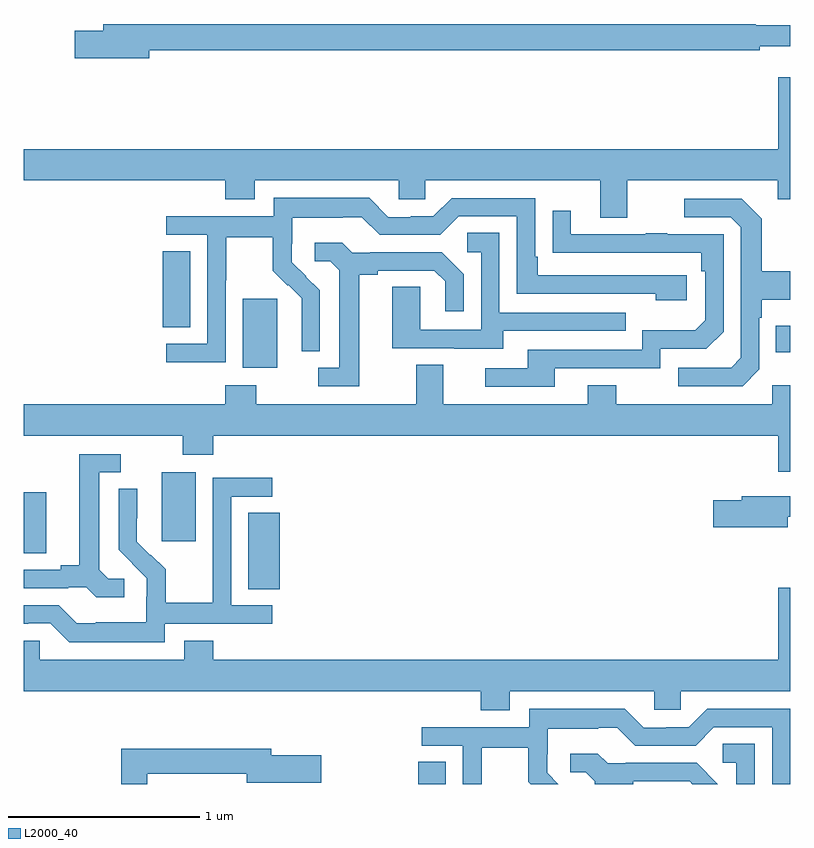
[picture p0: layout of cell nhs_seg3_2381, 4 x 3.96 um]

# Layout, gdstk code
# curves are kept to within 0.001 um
import gdstk
lib = gdstk.Library(unit=1e-6, precision=1e-09)
def R(c, l, rs):  # rectangles x0, y0, x1, y1
    for r in rs: c.add(gdstk.rectangle(r[:2], r[2:], *l))
def P(c, l, *ps):  # polygons
    for p in ps: c.add(gdstk.Polygon(p, *l))
L2000_40 = (2000, 40)

nhs_seg3_2381 = lib.new_cell('nhs_seg3_2381')
R(nhs_seg3_2381, L2000_40, [(235.058,732.4,235.201,732.515), (234.173,733.417,234.337,733.814), (233,733.603,233.119,733.923), (233.72,733.665,233.899,734.026), (234.143,734.57,234.322,734.931), (236.923,734.651,237,734.791), (233.726,734.782,233.869,735.179)])
P(nhs_seg3_2381, L2000_40, [(233.656,736.228),(236.84,736.228),(236.84,736.247),(237,736.247),(237,736.357),(236.818,736.357),(236.818,736.364),(233.417,736.364),(233.417,736.328),(233.268,736.328),(233.268,736.186),(233.656,736.186)],
  [(236.149,735.548),(236.933,735.548),(236.933,735.449),(237,735.449),(237,736.087),(236.936,736.087),(236.936,735.712),(233,735.712),(233,735.548),(234.053,735.548),(234.053,735.449),(234.205,735.449),(234.205,735.548),(234.957,735.548),(234.957,735.45),(235.095,735.45),(235.095,735.548),(236.009,735.548),(236.009,735.354),(236.149,735.354)],
  [(234.054,735.028),(234.057,735.028),(234.057,735.252),(234.301,735.252),(234.301,735.077),(234.378,735),(234.381,735.003),(234.452,734.933),(234.452,734.81),(234.45,734.81),(234.45,734.656),(234.546,734.656),(234.546,734.974),(234.4,735.122),(234.4,735.219),(234.402,735.219),(234.402,735.353),(234.665,735.353),(234.665,735.357),(234.765,735.357),(234.858,735.264),(235.173,735.264),(235.269,735.36),(235.572,735.36),(235.572,734.958),(236.297,734.958),(236.297,734.924),(236.458,734.924),(236.458,735.054),(235.681,735.054),(235.681,735.151),(235.668,735.151),(235.668,735.456),(235.233,735.456),(235.137,735.36),(235.019,735.36),(235.019,735.357),(234.903,735.357),(234.803,735.457),(234.306,735.457),(234.306,735.36),(233.745,735.36),(233.745,735.264),(233.958,735.264),(233.958,734.697),(233.745,734.697),(233.745,734.599),(234.054,734.599)],
  [(236.838,734.562),(236.838,734.831),(236.851,734.831),(236.851,734.927),(237,734.927),(237,735.075),(236.851,735.075),(236.851,735.347),(236.745,735.453),(236.445,735.453),(236.445,735.357),(236.688,735.357),(236.742,735.303),(236.742,734.622),(236.691,734.571),(236.415,734.571),(236.415,734.475),(236.751,734.475)],
  [(235.771,734.568),(236.322,734.568),(236.322,734.67),(236.562,734.67),(236.652,734.76),(236.652,735.267),(236.357,735.267),(236.357,735.272),(236.245,735.272),(236.245,735.267),(235.855,735.267),(235.855,735.391),(235.759,735.391),(235.759,735.172),(236.536,735.171),(236.536,735.074),(236.556,735.074),(236.556,734.82),(236.503,734.767),(236.226,734.767),(236.226,734.664),(235.631,734.664),(235.631,734.568),(235.407,734.568),(235.407,734.472),(235.771,734.472)],
  [(235.501,734.763),(236.141,734.763),(236.141,734.859),(235.482,734.859),(235.482,735.275),(235.314,735.275),(235.314,735.174),(235.386,735.174),(235.386,734.769),(235.068,734.769),(235.068,734.993),(234.923,734.993),(234.923,734.673),(235.247,734.673),(235.247,734.669),(235.501,734.669)],
  [(234.751,735.056),(234.847,735.056),(234.847,735.078),(235.142,735.078),(235.199,735.021),(235.199,734.865),(235.296,734.865),(235.296,735.058),(235.18,735.174),(234.808,735.174),(234.808,735.171),(234.714,735.171),(234.662,735.223),(234.519,735.223),(234.519,735.126),(234.6,735.126),(234.647,735.079),(234.647,734.571),(234.537,734.571),(234.537,734.475),(234.751,734.475)],
  [(237,734.479),(236.904,734.479),(236.904,734.38),(236.091,734.38),(236.091,734.479),(235.943,734.479),(235.943,734.38),(235.189,734.38),(235.189,734.588),(235.049,734.588),(235.049,734.38),(234.213,734.38),(234.213,734.479),(234.053,734.479),(234.053,734.38),(233,734.38),(233,734.216),(233.83,734.216),(233.83,734.117),(233.99,734.117),(233.99,734.216),(236.936,734.216),(236.936,734.028),(237,734.028)],
  [(233.524,733.47),(233.442,733.47),(233.395,733.517),(233.395,734.025),(233.506,734.025),(233.506,734.121),(233.291,734.121),(233.291,733.541),(233.195,733.541),(233.195,733.518),(233,733.518),(233,733.422),(233.234,733.422),(233.234,733.425),(233.328,733.425),(233.38,733.373),(233.524,733.373)],
  [(233.736,733.236),(234.298,733.236),(234.298,733.332),(234.084,733.332),(234.084,733.899),(234.298,733.899),(234.298,733.998),(233.988,733.998),(233.988,733.568),(233.986,733.568),(233.986,733.345),(233.741,733.345),(233.741,733.519),(233.664,733.596),(233.661,733.593),(233.591,733.664),(233.592,733.94),(233.496,733.94),(233.496,733.622),(233.642,733.474),(233.642,733.377),(233.64,733.377),(233.64,733.243),(233.377,733.243),(233.377,733.239),(233.277,733.239),(233.184,733.332),(233,733.332),(233,733.236),(233.024,733.236),(233.024,733.239),(233.139,733.239),(233.239,733.139),(233.736,733.139)],
  [(236.986,733.794),(237,733.794),(237,733.902),(236.747,733.902),(236.747,733.881),(236.598,733.881),(236.598,733.739),(236.986,733.739)],
  [(235.537,732.884),(236.289,732.884),(236.289,732.786),(236.427,732.786),(236.427,732.884),(237,732.884),(237,733.423),(236.936,733.423),(236.936,733.048),(233.99,733.048),(233.99,733.147),(233.837,733.147),(233.837,733.048),(233.085,733.048),(233.085,733.146),(233,733.146),(233,732.884),(235.385,732.884),(235.385,732.785),(235.537,732.785)],
  [(235.389,732.588),(235.633,732.588),(235.633,732.413),(235.646,732.4),(235.79,732.4),(235.732,732.458),(235.732,732.555),(235.734,732.555),(235.734,732.689),(235.997,732.689),(235.997,732.693),(236.097,732.693),(236.19,732.6),(236.505,732.6),(236.601,732.696),(236.904,732.696),(236.904,732.4),(237,732.4),(237,732.792),(236.565,732.792),(236.469,732.696),(236.351,732.696),(236.351,732.693),(236.235,732.693),(236.135,732.793),(235.638,732.793),(235.638,732.696),(235.077,732.696),(235.077,732.6),(235.29,732.6),(235.29,732.4),(235.389,732.4)],
  [(236.814,732.611),(236.646,732.611),(236.646,732.51),(236.718,732.51),(236.718,732.4),(236.814,732.4)],
  [(233.645,732.454),(234.164,732.454),(234.164,732.407),(234.553,732.407),(234.553,732.549),(234.292,732.549),(234.292,732.583),(233.509,732.583),(233.509,732.4),(233.645,732.4)],
  [(236.179,732.414),(236.474,732.414),(236.488,732.4),(236.622,732.4),(236.512,732.51),(236.14,732.51),(236.14,732.507),(236.046,732.507),(235.994,732.559),(235.851,732.559),(235.851,732.462),(235.932,732.462),(235.979,732.415),(235.979,732.4),(236.179,732.4)])

lib.write_gds('nhs_seg3_2381.gds')
